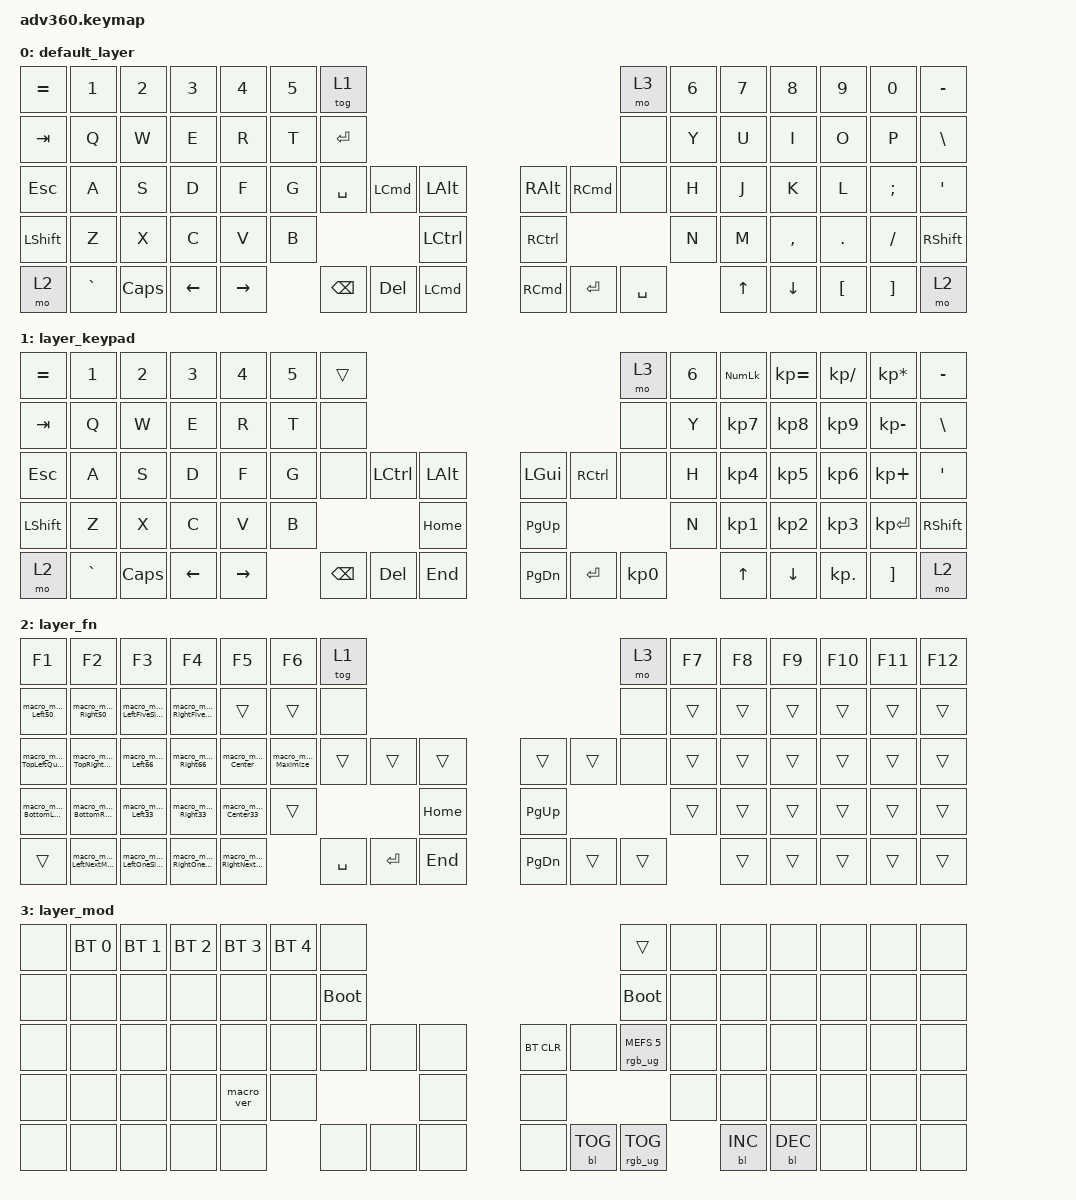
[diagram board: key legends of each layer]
/*
 * Copyright (c) 2020 The ZMK Contributors
 *
 * SPDX-License-Identifier: MIT
 */
/* THIS FILE WAS GENERATED!
 *
 * This file was generated automatically. You may or may not want to
 * edit it directly.
 */

#include <behaviors.dtsi>
#include <dt-bindings/zmk/backlight.h>
#include <dt-bindings/zmk/bt.h>
#include <dt-bindings/zmk/keys.h>
#include <dt-bindings/zmk/rgb.h>

/ {
    behaviors {
        #include "macros.dtsi"
    #include "version.dtsi"

        hm: homerow_mods {
            compatible = "zmk,behavior-hold-tap";
            label = "HOMEROW_MODS";
            #binding-cells = <2>;
            tapping-term-ms = <200>;
            quick_tap_ms = <175>;
            flavor = "tap-preferred";
            bindings = <&kp>, <&kp>;
        };
    };

    macros {
        macro_magnet_Left50: magnet_Left50 {
            compatible = "zmk,behavior-macro";
            #binding-cells = <0>;
            bindings = <&kp LA(LC(LEFT))>;
            label = "MAGNET_LEFT50";
        };

        macro_magnet_Right50: magnet_Right50 {
            compatible = "zmk,behavior-macro";
            #binding-cells = <0>;
            bindings = <&kp LA(LC(RIGHT))>;
            label = "MAGNET_RIGHT50";
        };

        macro_magnet_LeftFiveSixths: magnet_LeftFiveSixths {
            compatible = "zmk,behavior-macro";
            #binding-cells = <0>;
            bindings = <&kp LA(LC(COMMA))>;
            label = "MAGNET_LEFTFIVESIXTHS";
        };

        macro_magnet_RightFiveSixths: magnet_RightFiveSixths {
            compatible = "zmk,behavior-macro";
            #binding-cells = <0>;
            bindings = <&kp LA(LC(PERIOD))>;
            label = "MAGNET_RIGHTFIVESIXTHS";
        };

        macro_magnet_LeftOneSixths: magnet_LeftOneSixths {
            compatible = "zmk,behavior-macro";
            #binding-cells = <0>;
            bindings = <&kp LA(LC(NUMBER_1))>;
            label = "MAGNET_LEFTONESIXTHS";
        };

        macro_magnet_RightOneSixths: magnet_RightOneSixths {
            compatible = "zmk,behavior-macro";
            #binding-cells = <0>;
            bindings = <&kp LA(LC(NUMBER_6))>;
            label = "MAGNET_RIGHTONESIXTHS";
        };

        macro_magnet_LeftNextMonitor: magnet_LeftNextMonitor {
            compatible = "zmk,behavior-macro";
            #binding-cells = <0>;
            bindings = <&kp LA(LC(LG(LEFT)))>;
            label = "MAGNET_LEFTNEXTMONITOR";
        };

        macro_magnet_RightNextMonitor: magnet_RightNextMonitor {
            compatible = "zmk,behavior-macro";
            #binding-cells = <0>;
            bindings = <&kp LA(LC(LG(RIGHT)))>;
            label = "MAGNET_RIGHTNEXTMONITOR";
        };

        macro_magnet_Left33: magnet_Left33 {
            compatible = "zmk,behavior-macro";
            #binding-cells = <0>;
            bindings = <&kp LA(LC(D))>;
            label = "MAGNET_LEFT33";
        };

        macro_magnet_Center33: magnet_Center33 {
            compatible = "zmk,behavior-macro";
            #binding-cells = <0>;
            bindings = <&kp LA(LC(F))>;
            label = "MAGNET_CENTER33";
        };

        macro_magnet_Right33: magnet_Right33 {
            compatible = "zmk,behavior-macro";
            #binding-cells = <0>;
            bindings = <&kp LA(LC(G))>;
            label = "MAGNET_RIGHT33";
        };

        macro_magnet_Right66: magnet_Right66 {
            compatible = "zmk,behavior-macro";
            #binding-cells = <0>;
            bindings = <&kp LC(LA(T))>;
            label = "MAGNET_RIGHT66";
        };

        macro_magnet_Left66: magnet_Left66 {
            compatible = "zmk,behavior-macro";
            #binding-cells = <0>;
            bindings = <&kp LC(LA(E))>;
            label = "MAGNET_LEFT66";
        };

        macro_magnet_Center: magnet_Center {
            compatible = "zmk,behavior-macro";
            #binding-cells = <0>;
            bindings = <&kp LA(LC(C))>;
            label = "MAGNET_CENTER";
        };

        macro_magnet_Maximize: magnet_Maximize {
            compatible = "zmk,behavior-macro";
            #binding-cells = <0>;
            bindings = <&kp LA(LC(RETURN))>;
            label = "MAGNET_MAXIMIZE";
        };

        macro_magnet_TopRightQuarter: magnet_TopRightQuarter {
            compatible = "zmk,behavior-macro";
            #binding-cells = <0>;
            bindings = <&kp LA(LC(I))>;
            label = "MAGNET_TOPRIGHTQUARTER";
        };

        macro_magnet_TopLeftQuarter: magnet_TopLeftQuarter {
            compatible = "zmk,behavior-macro";
            #binding-cells = <0>;
            bindings = <&kp LA(LC(U))>;
            label = "MAGNET_TOPLEFTQUARTER";
        };

        macro_magnet_BottomRQuarter: magnet_BottomRightQuarter {
            compatible = "zmk,behavior-macro";
            #binding-cells = <0>;
            bindings = <&kp LA(LC(K))>;
            label = "MAGNET_BOTTOMRIGHTQUARTER";
        };

        macro_magnet_BottomLQuarter: magnet_BottomLeftQuarter {
            compatible = "zmk,behavior-macro";
            #binding-cells = <0>;
            bindings = <&kp LA(LC(J))>;
            label = "MAGNET_BOTTOMLEFTQUARTER";
        };
    };

    keymap {
        compatible = "zmk,keymap";

        default_layer {
            bindings = <
&kp EQUAL  &kp N1     &kp N2    &kp N3    &kp N4     &kp N5  &tog 1                                                                                   &mo 3      &kp N6  &kp N7  &kp N8     &kp N9    &kp N0    &kp MINUS
&kp TAB    &kp Q      &kp W     &kp E     &kp R      &kp T   &kp ENTER                                                                                &none      &kp Y   &kp U   &kp I      &kp O     &kp P     &kp BSLH
&kp ESC    &kp A      &kp S     &kp D     &kp F      &kp G   &kp SPACE  &kp LEFT_COMMAND  &kp LALT              &kp RALT           &kp RIGHT_COMMAND  &none      &kp H   &kp J   &kp K      &kp L     &kp SEMI  &kp SQT
&kp LSHFT  &kp Z      &kp X     &kp C     &kp V      &kp B                                &kp LEFT_CONTROL      &kp RIGHT_CONTROL                                &kp N   &kp M   &kp COMMA  &kp DOT   &kp FSLH  &kp RSHFT
&mo 2      &kp GRAVE  &kp CAPS  &kp LEFT  &kp RIGHT          &kp BSPC   &kp DEL           &kp LEFT_COMMAND      &kp RIGHT_COMMAND  &kp ENTER          &kp SPACE          &kp UP  &kp DOWN   &kp LBKT  &kp RBKT  &mo 2
            >;
        };

        layer_keypad {
            bindings = <
&kp EQUAL  &kp N1     &kp N2    &kp N3    &kp N4     &kp N5  &trans                                                   &mo 3      &kp N6  &kp KP_NUM  &kp KP_EQUAL  &kp KP_DIVIDE  &kp KP_MULTIPLY  &kp MINUS
&kp TAB    &kp Q      &kp W     &kp E     &kp R      &kp T   &none                                                    &none      &kp Y   &kp KP_N7   &kp KP_N8     &kp KP_N9      &kp KP_MINUS     &kp BSLH
&kp ESC    &kp A      &kp S     &kp D     &kp F      &kp G   &none     &kp LCTRL  &kp LALT      &kp LGUI   &kp RCTRL  &none      &kp H   &kp KP_N4   &kp KP_N5     &kp KP_N6      &kp KP_PLUS      &kp SQT
&kp LSHFT  &kp Z      &kp X     &kp C     &kp V      &kp B                        &kp HOME      &kp PG_UP                        &kp N   &kp KP_N1   &kp KP_N2     &kp KP_N3      &kp KP_ENTER     &kp RSHFT
&mo 2      &kp GRAVE  &kp CAPS  &kp LEFT  &kp RIGHT          &kp BSPC  &kp DEL    &kp END       &kp PG_DN  &kp ENTER  &kp KP_N0          &kp UP      &kp DOWN      &kp KP_DOT     &kp RBKT         &mo 2
            >;
        };

        layer_fn {
            bindings = <
&kp F1                        &kp F2                         &kp F3                        &kp F4                         &kp F5                          &kp F6                  &tog 1                                                  &mo 3   &kp F7  &kp F8  &kp F9  &kp F10  &kp F11  &kp F12
&macro_magnet_Left50          &macro_magnet_Right50          &macro_magnet_LeftFiveSixths  &macro_magnet_RightFiveSixths  &trans                          &trans                  &none                                                   &none   &trans  &trans  &trans  &trans   &trans   &trans
&macro_magnet_TopLeftQuarter  &macro_magnet_TopRightQuarter  &macro_magnet_Left66          &macro_magnet_Right66          &macro_magnet_Center            &macro_magnet_Maximize  &trans     &trans      &trans        &trans     &trans  &none   &trans  &trans  &trans  &trans   &trans   &trans
&macro_magnet_BottomLQuarter  &macro_magnet_BottomRQuarter   &macro_magnet_Left33          &macro_magnet_Right33          &macro_magnet_Center33          &trans                                         &kp HOME      &kp PG_UP                  &trans  &trans  &trans  &trans   &trans   &trans
&trans                        &macro_magnet_LeftNextMonitor  &macro_magnet_LeftOneSixths   &macro_magnet_RightOneSixths   &macro_magnet_RightNextMonitor                          &kp SPACE  &kp RETURN  &kp END       &kp PG_DN  &trans  &trans          &trans  &trans  &trans   &trans   &trans
            >;
        };

        layer_mod {
            bindings = <
&none  &bt BT_SEL 0  &bt BT_SEL 1  &bt BT_SEL 2  &bt BT_SEL 3  &bt BT_SEL 4  &none                                                  &trans                  &none  &none       &none       &none  &none  &none
&none  &none         &none         &none         &none         &none         &bootloader                                            &bootloader             &none  &none       &none       &none  &none  &none
&none  &none         &none         &none         &none         &none         &none        &none  &none      &bt BT_CLR  &none       &rgb_ug RGB_MEFS_CMD 5  &none  &none       &none       &none  &none  &none
&none  &none         &none         &none         &macro_ver    &none                             &none      &none                                           &none  &none       &none       &none  &none  &none
&none  &none         &none         &none         &none                       &none        &none  &none      &none       &bl BL_TOG  &rgb_ug RGB_TOG                &bl BL_INC  &bl BL_DEC  &none  &none  &none
            >;
        };
    };
};
